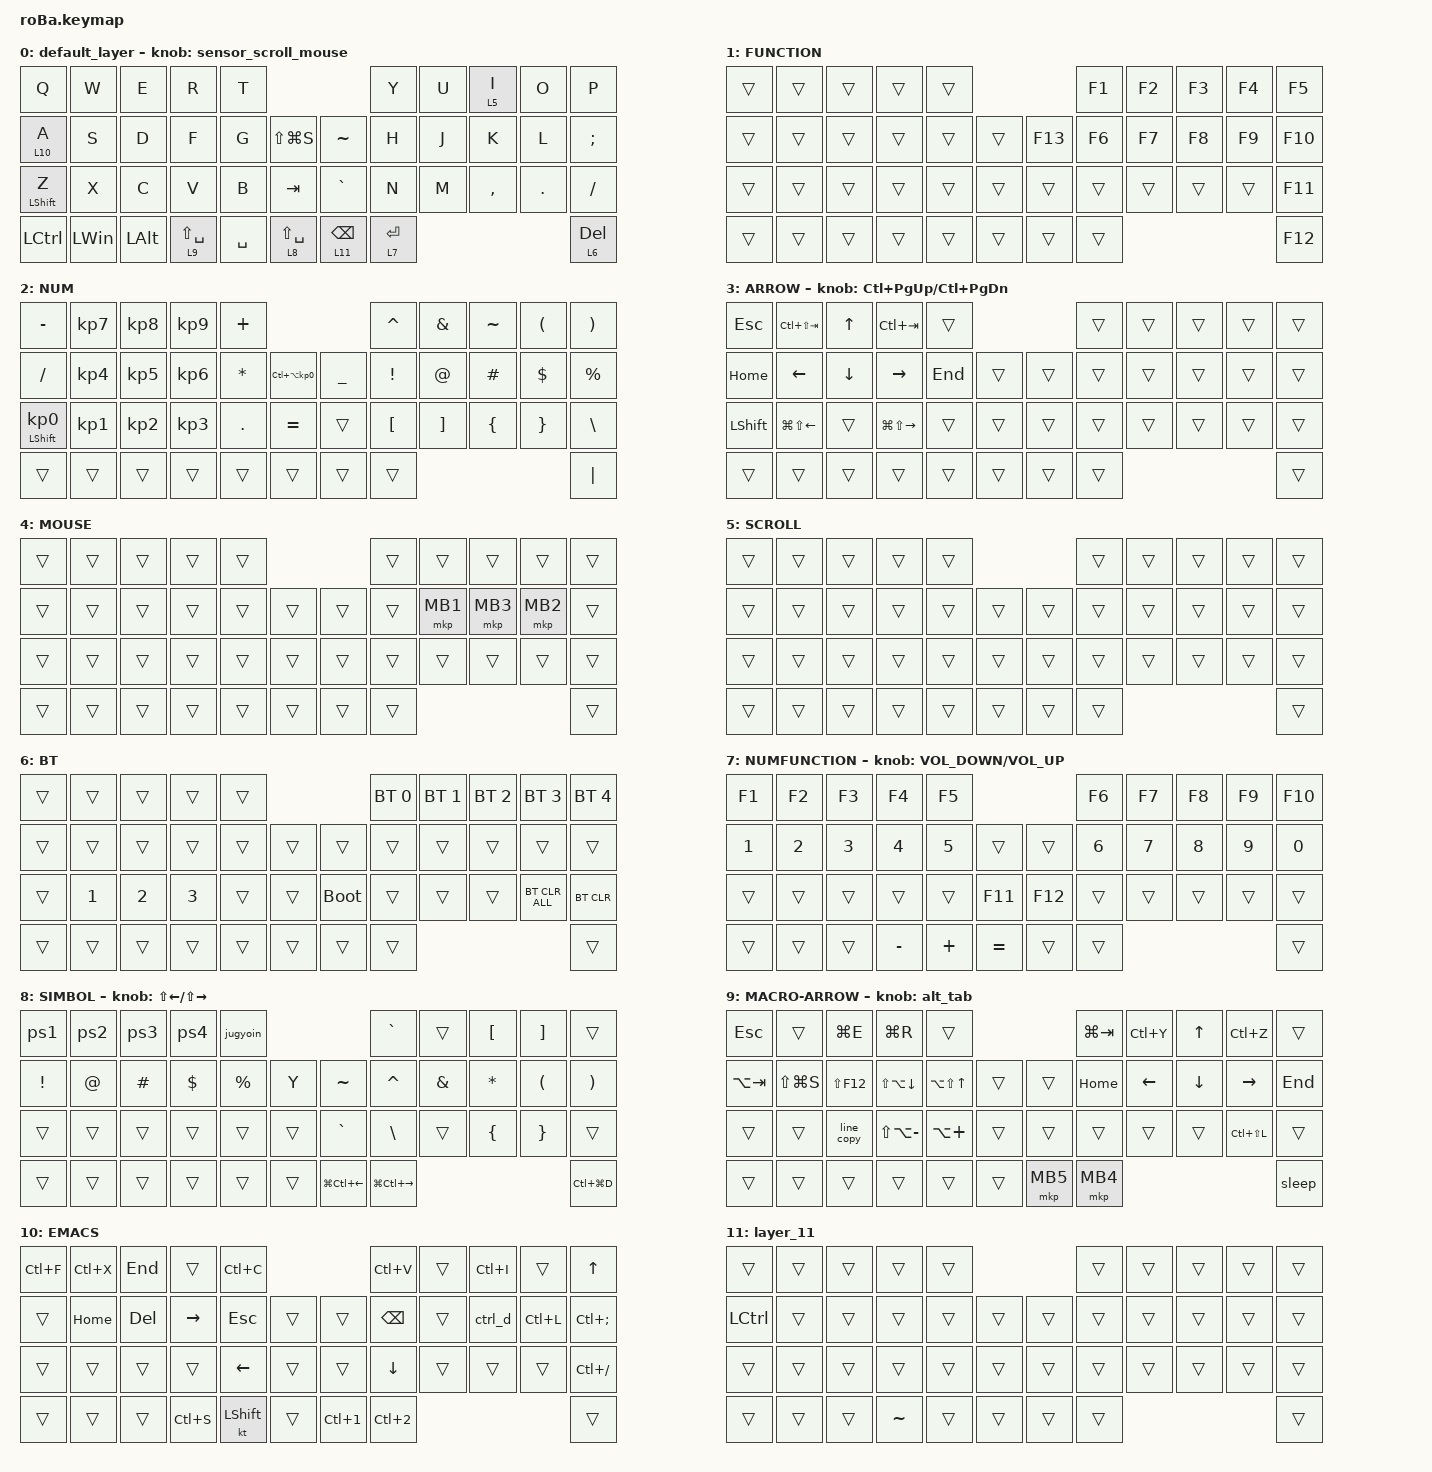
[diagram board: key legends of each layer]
#include <behaviors.dtsi>
#include <dt-bindings/zmk/bt.h>
#include <dt-bindings/zmk/keys.h>
#include <dt-bindings/zmk/pointing.h>

// #includeのあとのあたりにスクロール量を変更

#define ZMK_POINTING_DEFAULT_SCRL_VAL 80

&mt {
    flavor = "balanced";
    quick-tap-ms = <0>;
};

&trackball {
    // automouse-layer = <4>;

    scroll-layers = <5>;

    arrows {
        layers = <9>;
        bindings =
            <&kp RIGHT_ARROW>,
            <&kp LEFT_ARROW>,
            <&kp UP_ARROW>,
            <&kp DOWN_ARROW>;

        tick = <10>;
        wait-ms = <5>;
        tap-ms = <5>;
    };
};

/ {
    combos {
        compatible = "zmk,combos";

        shift-tab {
            bindings = <&kp LS(TAB)>;
            key-positions = <11 12>;
        };

        tab {
            bindings = <&kp TAB>;
            key-positions = <12 13>;
        };

        muhennkann {
            bindings = <&to_layer_0 INT_MUHENKAN>;
            key-positions = <11 10>;
        };

        eq {
            bindings = <&kp EQUAL>;
            key-positions = <24 25>;
        };

        quote {
            bindings = <&kp SQT>;
            key-positions = <19 20>;
        };

        minus {
            bindings = <&kp MINUS>;
            key-positions = <19 18>;
        };
    };

    macros {
        to_layer_0: to_layer_0 {
            compatible = "zmk,behavior-macro-one-param";
            #binding-cells = <1>;
            bindings = <&to 0 &macro_param_1to1 &kp MACRO_PLACEHOLDER>;
            label = "TO_LAYER_0";
        };

        ps1: ps1 {
            compatible = "zmk,behavior-macro";
            #binding-cells = <0>;
            bindings = <&kp LS(R) &kp L &kp V &kp D &kp N0 &kp N3 &kp N2 &kp N1>;
            label = "TEST";
        };

        ps2: ps2 {
            compatible = "zmk,behavior-macro";
            #binding-cells = <0>;
            bindings = <&kp LS(R) &kp L &kp V &kp D &kp N0 &kp N3 &kp N2 &kp N2>;
            label = "PS2";
        };

        ps3: ps3 {
            compatible = "zmk,behavior-macro";
            #binding-cells = <0>;
            bindings = <&none &kp LS(R) &kp L &kp V &kp D &kp N0 &kp N3 &kp N2 &kp N3>;
            label = "PS3";
        };

        ps4: ps4 {
            compatible = "zmk,behavior-macro";
            #binding-cells = <0>;
            bindings = <&none &kp R &kp L &kp V &kp D &kp N0 &kp N3 &kp N2 &kp N2>;
            label = "PS4";
        };

        ctrl_d: ctrl_d {
            compatible = "zmk,behavior-macro";
            #binding-cells = <0>;
            bindings = <&kp LS(END) &kp LC(X)>;
            label = "CTRL_D";
        };

        line_copy: line_copy {
            compatible = "zmk,behavior-macro";
            #binding-cells = <0>;
            bindings = <&kp END &kp LS(HOME) &kp LC(C) &kp ESC>;
            label = "LINE_COPY";
        };

        jugyoin: jugyoin {
            compatible = "zmk,behavior-macro";
            #binding-cells = <0>;
            bindings = <&kp N1 &kp N5 &kp N7 &kp N0 &kp N4 &kp N8 &kp N9>;
            label = "JUGYOIN";
        };

        sleep: sleep {
            compatible = "zmk,behavior-macro";
            #binding-cells = <0>;
            bindings = <&kp LG(X) &kp U &kp S>;
            label = "SLEEP";
            wait-ms = <100>;
        };
    };

    behaviors {
        lt_to_layer_0: lt_to_layer_0 {
            compatible = "zmk,behavior-hold-tap";
            label = "LAYER_TAP_TO_0";
            bindings = <&mo>, <&to_layer_0>;

            #binding-cells = <2>;
            tapping-term-ms = <200>;
        };

        sensor_scroll_mouse: sensor_scroll_mouse {
            compatible = "zmk,behavior-sensor-rotate";
            label = "SENSOR_SCROLL_MOUSE";
            #sensor-binding-cells = <0>;
            bindings = <&msc SCRL_DOWN>, <&msc SCRL_UP>;

            tap-ms = <20>;
        };

        encoder_msc_down_up: encoder_msc_down_up {
            compatible = "zmk,behavior-sensor-rotate";
            label = "ENCODER_MSC_DOWN_UP";
            #sensor-binding-cells = <0>;
            bindings = <&msc SCRL_DOWN>, <&msc SCRL_UP>;

            tap-ms = <20>;
        };

        alt_tab: alt_tab {
            compatible = "zmk,behavior-sensor-rotate";
            label = "ALT_TAB";
            #sensor-binding-cells = <0>;
            bindings = <&kp LA(TAB)>, <&kp LA(LS(TAB))>;
        };
    };

    keymap {
        compatible = "zmk,keymap";

        default_layer {
            bindings = <
&kp Q             &kp W         &kp E         &kp R                       &kp T                                             &kp Y        &kp U  &lt 5 I    &kp O    &kp P
&lt 10 A          &kp S         &kp D         &kp F                       &kp G      &kp LS(LG(S))        &kp TILDE         &kp H        &kp J  &kp K      &kp L    &kp SEMICOLON
&mt LEFT_SHIFT Z  &kp X         &kp C         &kp V                       &kp B      &kp TAB              &kp GRAVE         &kp N        &kp M  &kp COMMA  &kp DOT  &kp SLASH
&kp LCTRL         &kp LEFT_WIN  &kp LEFT_ALT  &lt_to_layer_0 9 LS(SPACE)  &kp SPACE  &lt 8 LS(SPACE)      &lt 11 BACKSPACE  &lt 7 ENTER                             &lt 6 DELETE
            >;

            // sensor-bindings = <&sensor_scroll_mouse>;

            sensor-bindings = <&sensor_scroll_mouse>;
        };

        FUNCTION {
            bindings = <
&trans  &trans  &trans  &trans  &trans                       &kp F1  &kp F2  &kp F3  &kp F4  &kp F5
&trans  &trans  &trans  &trans  &trans  &trans      &kp F13  &kp F6  &kp F7  &kp F8  &kp F9  &kp F10
&trans  &trans  &trans  &trans  &trans  &trans      &trans   &trans  &trans  &trans  &trans  &kp F11
&trans  &trans  &trans  &trans  &trans  &trans      &trans   &trans                          &kp F12
            >;
        };

        NUM {
            bindings = <
&kp MINUS                   &kp KP_NUMBER_7  &kp KP_NUMBER_8  &kp KP_NUMBER_9  &kp PLUS                                                   &kp CARET         &kp AMPERSAND      &kp TILDE       &kp LEFT_PARENTHESIS  &kp RIGHT_PARENTHESIS
&kp SLASH                   &kp KP_NUMBER_4  &kp KP_NUMBER_5  &kp KP_NUMBER_6  &kp ASTERISK  &kp LC(LA(KP_NUMBER_0))      &kp UNDERSCORE  &kp EXCLAMATION   &kp AT_SIGN        &kp HASH        &kp DOLLAR            &kp PERCENT
&mt LEFT_SHIFT KP_NUMBER_0  &kp KP_NUMBER_1  &kp KP_NUMBER_2  &kp KP_NUMBER_3  &kp PERIOD    &kp EQUAL                    &trans          &kp LEFT_BRACKET  &kp RIGHT_BRACKET  &kp LEFT_BRACE  &kp RIGHT_BRACE       &kp BACKSLASH
&trans                      &trans           &trans           &trans           &trans        &trans                       &trans          &trans                                                                     &kp PIPE
            >;
        };

        ARROW {
            bindings = <
&kp ESCAPE      &kp LC(LS(TAB))         &kp UP_ARROW    &kp LC(TAB)              &trans                       &trans  &trans  &trans  &trans  &trans
&kp HOME        &kp LEFT_ARROW          &kp DOWN_ARROW  &kp RIGHT_ARROW          &kp END  &trans      &trans  &trans  &trans  &trans  &trans  &trans
&kp LEFT_SHIFT  &kp LG(LS(LEFT_ARROW))  &trans          &kp LG(LS(RIGHT_ARROW))  &trans   &trans      &trans  &trans  &trans  &trans  &trans  &trans
&trans          &trans                  &trans          &trans                   &trans   &trans      &trans  &trans                          &trans
            >;

            sensor-bindings = <&inc_dec_kp LC(PAGE_UP) LC(PAGE_DOWN)>;
        };

        MOUSE {
            bindings = <
&trans  &trans  &trans  &trans  &trans                      &trans  &trans    &trans    &trans    &trans
&trans  &trans  &trans  &trans  &trans  &trans      &trans  &trans  &mkp MB1  &mkp MB3  &mkp MB2  &trans
&trans  &trans  &trans  &trans  &trans  &trans      &trans  &trans  &trans    &trans    &trans    &trans
&trans  &trans  &trans  &trans  &trans  &trans      &trans  &trans                                &trans
            >;
        };

        SCROLL {
            bindings = <
&trans  &trans  &trans  &trans  &trans                      &trans  &trans  &trans  &trans  &trans
&trans  &trans  &trans  &trans  &trans  &trans      &trans  &trans  &trans  &trans  &trans  &trans
&trans  &trans  &trans  &trans  &trans  &trans      &trans  &trans  &trans  &trans  &trans  &trans
&trans  &trans  &trans  &trans  &trans  &trans      &trans  &trans                          &trans
            >;
        };

        BT {
            bindings = <
&trans  &trans        &trans        &trans        &trans                           &bt BT_SEL 0  &bt BT_SEL 1  &bt BT_SEL 2  &bt BT_SEL 3    &bt BT_SEL 4
&trans  &trans        &trans        &trans        &trans  &trans      &trans       &trans        &trans        &trans        &trans          &trans
&trans  &kp NUMBER_1  &kp NUMBER_2  &kp NUMBER_3  &trans  &trans      &bootloader  &trans        &trans        &trans        &bt BT_CLR_ALL  &bt BT_CLR
&trans  &trans        &trans        &trans        &trans  &trans      &trans       &trans                                                    &trans
            >;
        };

        NUMFUNCTION {
            bindings = <
&kp F1  &kp F2  &kp F3  &kp F4     &kp F5                            &kp F6  &kp F7  &kp F8  &kp F9  &kp F10
&kp N1  &kp N2  &kp N3  &kp N4     &kp N5    &trans         &trans   &kp N6  &kp N7  &kp N8  &kp N9  &kp N0
&trans  &trans  &trans  &trans     &trans    &kp F11        &kp F12  &trans  &trans  &trans  &trans  &trans
&trans  &trans  &trans  &kp MINUS  &kp PLUS  &kp EQUAL      &trans   &trans                          &trans
            >;

            sensor-bindings = <&inc_dec_kp C_VOLUME_DOWN C_VOLUME_UP>;
        };

        SIMBOL {
            bindings = <
&ps1             &ps2         &ps3      &ps4        &jugyoin                                   &kp GRAVE          &trans         &kp LEFT_BRACKET  &kp RIGHT_BRACKET     &trans
&kp EXCLAMATION  &kp AT_SIGN  &kp HASH  &kp DOLLAR  &kp PERCENT  &kp Y       &kp TILDE         &kp CARET          &kp AMPERSAND  &kp ASTERISK      &kp LEFT_PARENTHESIS  &kp RIGHT_PARENTHESIS
&trans           &trans       &trans    &trans      &trans       &trans      &kp GRAVE         &kp BACKSLASH      &trans         &kp LEFT_BRACE    &kp RIGHT_BRACE       &trans
&trans           &trans       &trans    &trans      &trans       &trans      &kp LG(LC(LEFT))  &kp LG(LC(RIGHT))                                                         &kp LC(LG(D))
            >;

            sensor-bindings = <&inc_dec_kp LS(LEFT) LS(RIGHT)>;
        };

        MACRO-ARROW {
            bindings = <
&kp ESCAPE   &trans         &kp LG(E)    &kp LG(R)               &trans                                      &kp LG(TAB)  &kp LC(Y)       &kp UP_ARROW    &kp LC(Z)        &trans
&kp LA(TAB)  &kp LS(LG(S))  &kp LS(F12)  &kp LS(LA(DOWN_ARROW))  &kp LA(LS(UP_ARROW))  &trans      &trans    &kp HOME     &kp LEFT_ARROW  &kp DOWN_ARROW  &kp RIGHT_ARROW  &kp END
&trans       &trans         &line_copy   &kp LS(LA(MINUS))       &kp LA(PLUS)          &trans      &trans    &trans       &trans          &trans          &kp LC(LS(L))    &trans
&trans       &trans         &trans       &trans                  &trans                &trans      &mkp MB5  &mkp MB4                                                      &sleep
            >;

            sensor-bindings = <&alt_tab>;
        };

        EMACS {
            bindings = <
&kp LC(F)  &kp LC(X)  &kp END     &trans     &kp LC(C)                                     &kp LC(V)         &trans  &kp LC(I)  &trans     &kp UP_ARROW
&trans     &kp HOME   &kp DELETE  &kp RIGHT  &kp ESC         &trans      &trans            &kp BACKSPACE     &trans  &ctrl_d    &kp LC(L)  &kp LC(SEMICOLON)
&trans     &trans     &trans      &trans     &kp LEFT        &trans      &trans            &kp DOWN_ARROW    &trans  &trans     &trans     &kp LC(SLASH)
&trans     &trans     &trans      &kp LC(S)  &kt LEFT_SHIFT  &trans      &kp LC(NUMBER_1)  &kp LC(NUMBER_2)                                &trans
            >;
        };

        layer_11 {
            bindings = <
&trans     &trans  &trans  &trans     &trans                      &trans  &trans  &trans  &trans  &trans
&kp LCTRL  &trans  &trans  &trans     &trans  &trans      &trans  &trans  &trans  &trans  &trans  &trans
&trans     &trans  &trans  &trans     &trans  &trans      &trans  &trans  &trans  &trans  &trans  &trans
&trans     &trans  &trans  &kp TILDE  &trans  &trans      &trans  &trans                          &trans
            >;
        };
    };
};
